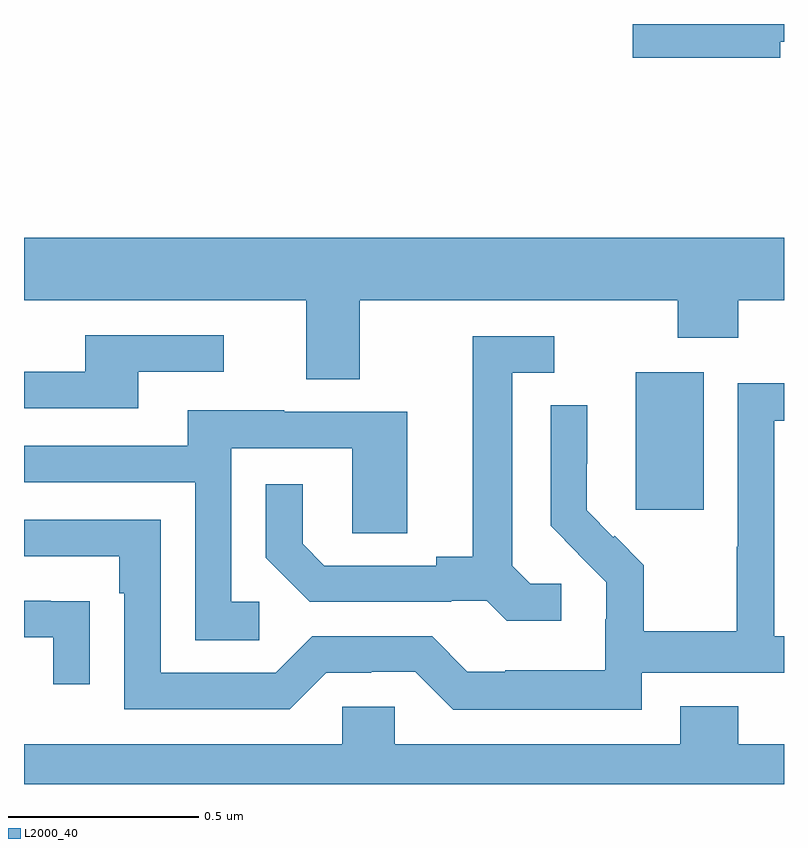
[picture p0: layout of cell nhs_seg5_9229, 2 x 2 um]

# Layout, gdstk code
import gdstk
lib = gdstk.Library(unit=1e-6, precision=1e-09)
def R(c, l, rs):  # rectangles x0, y0, x1, y1
    for r in rs: c.add(gdstk.rectangle(r[:2], r[2:], *l))
def P(c, l, *ps):  # polygons
    for p in ps: c.add(gdstk.Polygon(p, *l))
L2000_40 = (2000, 40)

nhs_seg5_9229 = lib.new_cell('nhs_seg5_9229')
R(nhs_seg5_9229, L2000_40, [(232.61,877.521,232.789,877.882)])
P(nhs_seg5_9229, L2000_40, [(232.99,878.752),(233,878.752),(233,878.799),(232.602,878.799),(232.602,878.71),(232.99,878.71)],
  [(231.883,878.072),(232.72,878.072),(232.72,877.973),(232.88,877.973),(232.88,878.072),(233,878.072),(233,878.236),(231,878.236),(231,878.072),(231.743,878.072),(231.743,877.864),(231.883,877.864)],
  [(231.301,877.884),(231.526,877.884),(231.526,877.98),(231.161,877.98),(231.161,877.884),(231,877.884),(231,877.788),(231.301,877.788)],
  [(232.414,877.326),(232.332,877.326),(232.285,877.373),(232.285,877.881),(232.396,877.881),(232.396,877.977),(232.181,877.977),(232.181,877.397),(232.085,877.397),(232.085,877.374),(231.79,877.374),(231.733,877.431),(231.733,877.588),(231.636,877.588),(231.636,877.394),(231.752,877.278),(232.124,877.278),(232.124,877.281),(232.218,877.281),(232.27,877.229),(232.414,877.229)],
  [(232.626,877.092),(233,877.092),(233,877.188),(232.974,877.188),(232.974,877.755),(233,877.755),(233,877.854),(232.878,877.854),(232.878,877.424),(232.876,877.424),(232.876,877.201),(232.631,877.201),(232.631,877.375),(232.554,877.452),(232.551,877.449),(232.481,877.52),(232.481,877.642),(232.482,877.642),(232.482,877.796),(232.386,877.796),(232.386,877.478),(232.459,877.405),(232.458,877.404),(232.532,877.33),(232.532,877.233),(232.53,877.233),(232.53,877.099),(232.267,877.099),(232.267,877.095),(232.167,877.095),(232.074,877.188),(231.759,877.188),(231.663,877.092),(231.36,877.092),(231.36,877.494),(231,877.494),(231,877.398),(231.251,877.398),(231.251,877.301),(231.264,877.301),(231.264,876.996),(231.699,876.996),(231.795,877.092),(231.914,877.092),(231.914,877.095),(232.029,877.095),(232.129,876.995),(232.626,876.995)],
  [(231.619,877.278),(231.546,877.278),(231.546,877.683),(231.864,877.683),(231.864,877.459),(232.009,877.459),(232.009,877.779),(231.685,877.779),(231.685,877.783),(231.431,877.783),(231.431,877.689),(231,877.689),(231,877.593),(231.45,877.593),(231.45,877.177),(231.619,877.177)],
  [(231.173,877.28),(231.071,877.28),(231.071,877.281),(231,877.281),(231,877.185),(231.077,877.185),(231.077,877.062),(231.173,877.062)],
  [(233,876.904),(232.88,876.904),(232.88,877.003),(232.727,877.003),(232.727,876.904),(231.975,876.904),(231.975,877.002),(231.837,877.002),(231.837,876.904),(231,876.904),(231,876.799),(233,876.799)])

lib.write_gds('nhs_seg5_9229.gds')
